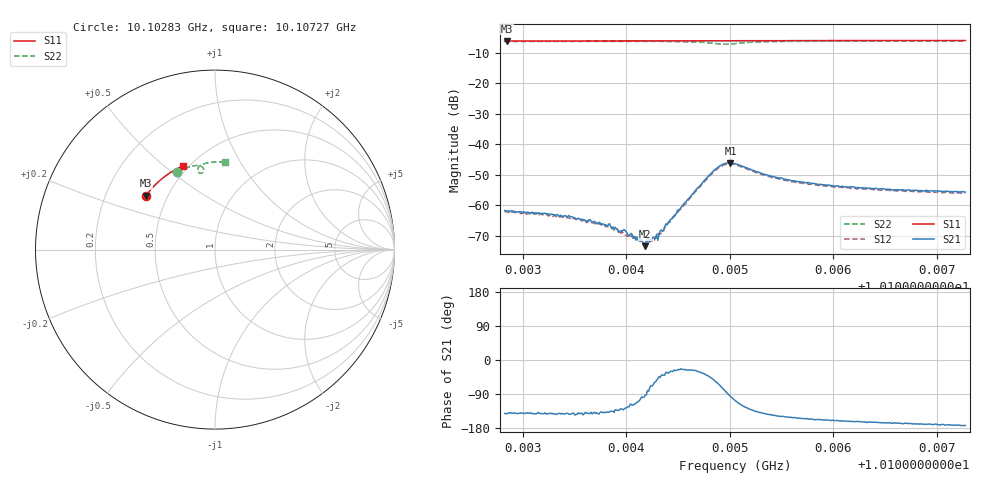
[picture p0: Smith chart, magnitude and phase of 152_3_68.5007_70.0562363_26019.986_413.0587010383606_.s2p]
#  HZ  S  RI  R  50.00
! Rohde & Schwarz Vector Network Analyzer
! Rohde-Schwarz,ZNB20-2Port,1311601062101988,3.16
! Created: UTC 3/20/2024, 5:10:35 PM
! freq[Hz]  re:S11  im:S11  re:S21  im:S21  re:S12  im:S12  re:S22  im:S22
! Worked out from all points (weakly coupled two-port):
!   401 points, 10.10283 GHz to 10.10727 GHz, reference 50 ohm
!   highest |S21| = -46.16 dB at 10.10501 GHz (marker M1); lowest = -73.4 dB at 10.10418 GHz (marker M2)
!   lowest |S11| = -6.2 dB at 10.10285 GHz (marker M3), VSWR 2.90, Z = 19 + j15 ohm
!   |S11| at or under -10 dB: nowhere
!   |S22| runs from -7.3 to -6.2 dB; largest |S21 - S12| = 0.00052
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1.0102827e10  -0.3842 0.3002  -0.000637 -0.000514  -0.000552 -0.00054  -0.21 0.4314
1.0102849e10  -0.3833 0.3011  -0.00063 -0.000496  -0.000555 -0.000561  -0.2086 0.4321
1.0103238e10  -0.3691 0.3202  -0.000568 -0.000455  -0.00051 -0.000492  -0.1855 0.4434
1.0103572e10  -0.3563 0.3359  -0.000456 -0.000378  -0.000401 -0.000379  -0.1647 0.4523
1.0103772e10  -0.3481 0.3449  -0.000366 -0.000327  -0.00034 -0.000368  -0.1518 0.4572
1.0103827e10  -0.3458 0.3475  -0.000352 -0.000316  -0.000301 -0.000319  -0.1479 0.4585
1.0103927e10  -0.3417 0.3518  -0.000248 -0.000263  -0.000198 -0.000296  -0.1412 0.4608
1.0103983e10  -0.3394 0.3543  -0.000247 -0.00031  -0.000181 -0.000286  -0.1373 0.462
1.0104183e10  -0.3309 0.3631  -9.75e-06 -0.000213  2.69e-05 -0.000239  -0.1227 0.4656
1.010425e10  -0.328 0.3659  0.000101 -0.000265  0.000106 -0.000236  -0.1173 0.4668
1.0104294e10  -0.3261 0.3679  0.000201 -0.000266  0.000187 -0.000226  -0.1139 0.4674
1.0104316e10  -0.3251 0.3688  0.000237 -0.000229  0.000253 -0.000233  -0.1119 0.4678
1.010435e10  -0.3235 0.3702  0.000288 -0.000234  0.000285 -0.000231  -0.1091 0.468
1.0104516e10  -0.3163 0.3771  0.000768 -0.000377  0.000773 -0.000319  -0.0937 0.4685
1.0104828e10  -0.3019 0.3894  0.00227 -0.00257  0.00238 -0.00223  -0.0624 0.4452
1.0104928e10  -0.2974 0.3931  0.00127 -0.00443  0.00164 -0.00413  -0.0708 0.4273
1.0105005e10  -0.2938 0.396  -0.000504 -0.0049  -5.49e-05 -0.00476  -0.0872 0.427
1.010505e10  -0.2918 0.3977  -0.00137 -0.00459  -0.000924 -0.0045  -0.0936 0.4329
1.0105394e10  -0.2754 0.4106  -0.00243 -0.00175  -0.00219 -0.00185  -0.0783 0.4708
1.0105795e10  -0.2553 0.4245  -0.00208 -0.000912  -0.0019 -0.00107  -0.0469 0.4819
1.0106539e10  -0.2167 0.4473  -0.00176 -0.000469  -0.00165 -0.000573  0.0048 0.4883
1.0107273e10  -0.1766 0.4664  -0.00163 -0.000199  -0.00154 -0.000353  0.0533 0.4875
